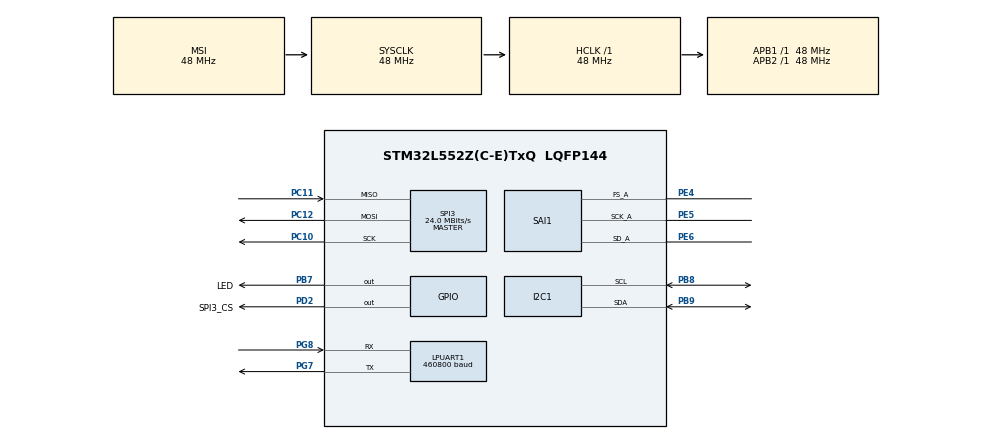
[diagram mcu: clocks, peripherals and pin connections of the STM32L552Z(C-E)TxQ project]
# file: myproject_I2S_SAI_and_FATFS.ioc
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Dma.Request0=SAI1_A
Dma.Request1=SPI3_TX
Dma.SAI1_A.0.Channel_PRIV_NPRIV=DMA_CHANNEL_NPRIV_DISABLE
Dma.SAI1_A.0.Direction=DMA_PERIPH_TO_MEMORY
Dma.SAI1_A.0.EventEnable=DISABLE
Dma.SAI1_A.0.Instance=DMA1_Channel1
Dma.SAI1_A.0.MemDataAlignment=DMA_MDATAALIGN_WORD
Dma.SAI1_A.0.MemInc=DMA_MINC_ENABLE
Dma.SAI1_A.0.Mode=DMA_CIRCULAR
Dma.SAI1_A.0.PeriphDataAlignment=DMA_PDATAALIGN_WORD
Dma.SAI1_A.0.PeriphInc=DMA_PINC_DISABLE
Dma.SAI1_A.0.Polarity=HAL_DMAMUX_REQ_GEN_RISING
Dma.SAI1_A.0.Priority=DMA_PRIORITY_HIGH
Dma.SAI1_A.0.RequestNumber=1
Dma.SAI1_A.0.SignalID=NONE
Dma.SAI1_A.0.SyncEnable=DISABLE
Dma.SAI1_A.0.SyncPolarity=HAL_DMAMUX_SYNC_NO_EVENT
Dma.SAI1_A.0.SyncRequestNumber=1
Dma.SAI1_A.0.SyncSignalID=NONE
Dma.SPI3_TX.1.Channel_PRIV_NPRIV=DMA_CHANNEL_NPRIV_DISABLE
Dma.SPI3_TX.1.Direction=DMA_MEMORY_TO_PERIPH
Dma.SPI3_TX.1.EventEnable=DISABLE
Dma.SPI3_TX.1.Instance=DMA1_Channel2
Dma.SPI3_TX.1.MemDataAlignment=DMA_MDATAALIGN_BYTE
Dma.SPI3_TX.1.MemInc=DMA_MINC_ENABLE
Dma.SPI3_TX.1.Mode=DMA_NORMAL
Dma.SPI3_TX.1.PeriphDataAlignment=DMA_PDATAALIGN_BYTE
Dma.SPI3_TX.1.PeriphInc=DMA_PINC_DISABLE
Dma.SPI3_TX.1.Polarity=HAL_DMAMUX_REQ_GEN_RISING
Dma.SPI3_TX.1.Priority=DMA_PRIORITY_LOW
Dma.SPI3_TX.1.RequestNumber=1
Dma.SPI3_TX.1.SignalID=NONE
Dma.SPI3_TX.1.SyncEnable=DISABLE
Dma.SPI3_TX.1.SyncPolarity=HAL_DMAMUX_SYNC_NO_EVENT
Dma.SPI3_TX.1.SyncRequestNumber=1
Dma.SPI3_TX.1.SyncSignalID=NONE
I2C1.Timing=0x20303E5D
LPUART1.BaudRate=460800
Mcu.Family=STM32L5
Mcu.Name=STM32L552Z(C-E)TxQ
Mcu.Package=LQFP144
NVIC.DMA1_Channel1_IRQn=true\:0\:0\:false\:false\:true\:false\:true\:true
NVIC.DMA1_Channel2_IRQn=true\:0\:0\:false\:false\:true\:false\:true\:true
NVIC.PriorityGroup=NVIC_PRIORITYGROUP_3
NVIC.SAI1_IRQn=true\:0\:0\:false\:false\:true\:true\:true\:true
PB7.GPIO_Label=LED
PB7.Signal=GPIO_Output
PB8.GPIO_Pu=GPIO_PULLUP
PB8.Mode=I2C
PB8.Signal=I2C1_SCL
PB9.GPIO_Pu=GPIO_PULLUP
PB9.Mode=I2C
PB9.Signal=I2C1_SDA
PC10.Mode=Full_Duplex_Master
PC10.Signal=SPI3_SCK
PC11.Mode=Full_Duplex_Master
PC11.Signal=SPI3_MISO
PC12.Mode=Full_Duplex_Master
PC12.Signal=SPI3_MOSI
PD2.GPIO_Label=SPI3_CS
PD2.Signal=GPIO_Output
PE4.Mode=SAI_A_Master
PE4.Signal=SAI1_FS_A
PE5.Mode=SAI_A_Master
PE5.Signal=SAI1_SCK_A
PE6.Mode=SAI_A_Master
PE6.Signal=SAI1_SD_A
PG7.Mode=Asynchronous
PG7.Signal=LPUART1_TX
PG8.Mode=Asynchronous
PG8.Signal=LPUART1_RX
ProjectManager.HeapSize=0x200
ProjectManager.StackSize=0x400
ProjectManager.TargetToolchain=STM32CubeIDE
RCC.ADCFreq_Value=96000000
RCC.AHBFreq_Value=48000000
RCC.APB1Freq_Value=48000000
RCC.APB1TimFreq_Value=48000000
RCC.APB2Freq_Value=48000000
RCC.APB2TimFreq_Value=48000000
RCC.CortexFreq_Value=48000000
RCC.HCLKFreq_Value=48000000
RCC.HSE_VALUE=16000000
RCC.HSI48_VALUE=48000000
RCC.HSI_VALUE=16000000
RCC.LSE_VALUE=32768
RCC.MSIClockRange=RCC_MSIRANGE_11
RCC.MSI_VALUE=48000000
RCC.PLLM=2
RCC.PLLSAI1M=7
RCC.PLLSAI1N=28
RCC.PLLSAI1P=RCC_PLLP_DIV17
RCC.SYSCLKFreq_VALUE=48000000
RCC.USBFreq_Value=96000000
RCC.VCOOutputFreq_Value=192000000
SAI1.AudioFrequency-SAI_A_Master=SAI_AUDIO_FREQUENCY_44K
SAI1.AudioMode-SAI_A_Master=SAI_MODEMASTER_RX
SAI1.BasicDataSize-SAI_A_Master=SAI_PROTOCOL_DATASIZE_32BIT
SAI1.BasicSlotNumber-SAI_A_Master=8
SAI1.ErrorAudioFreq-SAI_A_Master=0.03 %
SAI1.FIFOThreshold-SAI_A_Master=SAI_FIFOTHRESHOLD_FULL
SAI1.InitProtocol-SAI_A_Master=Enable
SAI1.Instance-SAI_A_Master=SAI$Index_Block_A
SAI1.MckOutput-SAI_A_Master=SAI_MCK_OUTPUT_DISABLE
SAI1.OutputDrive-SAI_A_Master=SAI_OUTPUTDRIVE_ENABLE
SAI1.RealAudioFreq-SAI_A_Master=44.117 KHz
SAI1.VirtualMode-SAI_A_Master=VM_MASTER
SAI1.VirtualProtocol-SAI_A_BASIC=VM_BASIC_PROTOCOL
SPI3.CalculateBaudRate=24.0 MBits/s
SPI3.DataSize=SPI_DATASIZE_8BIT
SPI3.Direction=SPI_DIRECTION_2LINES
SPI3.Mode=SPI_MODE_MASTER
SPI3.VirtualType=VM_MASTER
VP_FATFS_VS_Generic.Mode=User_defined
VP_ICACHE_VS_ICACHE.Mode=DirectMappedCache
VP_PWR_VS_DBSignals.Mode=DisableDeadBatterySignals
VP_PWR_VS_SECSignals.Mode=Security/Privilege
VP_SAI1_VP_$IpInstance_SAIA_SAI_BASIC.Mode=SAI_A_BASIC
board=custom

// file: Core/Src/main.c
/* USER CODE BEGIN Header */
/**
  ******************************************************************************
  * @file           : main.c
  * @brief          : Main program body
  ******************************************************************************
  * @attention
  *
  * Copyright (c) 2025 STMicroelectronics.
  * All rights reserved.
  *
  * This software is licensed under terms that can be found in the LICENSE file
  * in the root directory of this software component.
  * If no LICENSE file comes with this software, it is provided AS-IS.
  *
  ******************************************************************************
  */
/* USER CODE END Header */
#include "main.h"
#include "app_fatfs.h"

/* USER CODE BEGIN Includes */
#include <stdio.h>
#include <math.h>

/* USER CODE END Includes */

/* USER CODE BEGIN PD */
#define BUFFER_SIZE 9800
#define BIT_DEPTH 32

/* USER CODE END PD */

I2C_HandleTypeDef hi2c1;

UART_HandleTypeDef hlpuart1;

SAI_HandleTypeDef hsai_BlockA1;
DMA_HandleTypeDef hdma_sai1_a;

SPI_HandleTypeDef hspi3;
DMA_HandleTypeDef hdma_spi3_tx;

/* USER CODE BEGIN PV */

// Flags de mission
int8_t startRecordingAudioFlag = 0;
int8_t wifiTransfertFlag = 0;

// Variables liées au transfert de données en I2S
int32_t adcData[BUFFER_SIZE];
static volatile int32_t *inBufPtr;
int8_t dataReadyFlag = 0;
int32_t sortedData[BUFFER_SIZE/2];

// Variables liées au stockage des données sur la carte SD
int fileOpenFlag = 0;
           // int nbr of half buffer
uint8_t NumberOfFiles = 1;			    // int
char fileName[16] = "record" ;
BYTE writeBuf[30];

// FatFs variables
FATFS FatFs; 	// Fatfs handle
FIL fil; 		// File handle
FRESULT fres;   // Result after operations

/* USER CODE END PV */

void SystemClock_Config(void);
static void MX_GPIO_Init(void);
static void MX_DMA_Init(void);
static void MX_I2C1_Init(void);
static void MX_LPUART1_UART_Init(void);
static void MX_ICACHE_Init(void);
static void MX_SAI1_Init(void);
static void MX_SPI3_Init(void);

/* USER CODE BEGIN 0 */
void HAL_SAI_RxHalfCpltCallback(SAI_HandleTypeDef *hi2s)
{
	inBufPtr = &adcData[0];
	HAL_UART_Transmit(&hlpuart1, (uint8_t *)"Interrupt 1/2\r\n", strlen("Interrupt 1/2\r\n"), HAL_MAX_DELAY);

	dataReadyFlag = 1;
}

void HAL_SAI_RxCpltCallback(SAI_HandleTypeDef *hi2s)
{
	inBufPtr = &adcData[BUFFER_SIZE/2];
	HAL_UART_Transmit(&hlpuart1, (uint8_t *)"Interrupt 2/2\r\n", strlen("Interrupt 2/2\r\n"), HAL_MAX_DELAY);

	dataReadyFlag = 1;
}

void myprint(const char *fmt, ...) {
  static char buffer[256];
  va_list args;
  va_start(args, fmt);
  vsnprintf(buffer, sizeof(buffer), fmt, args);
  va_end(args);
  int len = strlen(buffer);
  HAL_UART_Transmit(&hlpuart1, (uint8_t*)buffer, len, -1);
}

/* USER CODE END 0 */

int main(void)
{

  /* MCU Configuration--------------------------------------------------------*/

  /* Reset of all peripherals, Initializes the Flash interface and the Systick. */
  HAL_Init();

  /* Configure the system clock */
  SystemClock_Config();

  /* Initialize all configured peripherals */
  MX_GPIO_Init();
  MX_DMA_Init();
  MX_I2C1_Init();
  MX_LPUART1_UART_Init();
  MX_ICACHE_Init();
  MX_SAI1_Init();
  if (MX_FATFS_Init() != APP_OK) {
    Error_Handler();
  }
  MX_SPI3_Init();
  /* USER CODE BEGIN 2 */

	HAL_GPIO_WritePin(GPIOB, GPIO_PIN_7, GPIO_PIN_SET);

	myprint("\r\nSTM32L552 is connected \r\n");
	HAL_Delay(200);

  // ---------------------------------------------------------------------------------------------- //
  // ------------------------------  Configure ADC settings with I2C ------------------------------ //
  // ---------------------------------------------------------------------------------------------- //
	// Test I2C com
	uint16_t i2c_dev_addr = 0x4e<<1;			// device address left-shifted
	uint16_t registerAdressSize = 1;			// size
	uint32_t timeout = 50;					// timeout
	uint16_t Size = 1;						// size
	uint8_t readData;							// variable init
	char hexStr[7];

	HAL_I2C_Mem_Read(hi2c, i2c_dev_addr | 0x01 , 0x14, registerAdressSize, &readData, Size, timeout);
	if (readData==0x48){HAL_UART_Transmit(huart, (uint8_t *)"Com I2C ok\r\n", strlen("Com I2C ok\r\n"), HAL_MAX_DELAY);}
	else {HAL_UART_Transmit(huart, (uint8_t *)"Com I2C nok\r\n", strlen("Com I2C nok\r\n"), HAL_MAX_DELAY);}

	HAL_Delay(500);

  // ---------------------------------------------------------------------------------------------- //
  // -----------------------------------  Initialize SD card  ------------------------------------- //
  // ---------------------------------------------------------------------------------------------- //
	myprint("SD card demo \r\n");

	// Open the file system - mount the drive
	fres = f_mount(&FatFs, "", 1); // 1 = mount now
	if (fres != FR_OK) {
	myprint("f_mount error (%i)\r\n", fres);
	while(1);
	}

	// Statistics from the SD card
	DWORD free_clusters, free_sectors, total_sectors;
	FATFS* getFreeFs;
	fres = f_getfree("", &free_clusters, &getFreeFs);
	if (fres != FR_OK) {
	myprint("f_getfree error (%i)\r\n", fres);
	while(1);
	}
	//Formula comes from ChaN's documentation
	total_sectors = (getFreeFs->n_fatent - 2) * getFreeFs->csize;
	free_sectors = free_clusters * getFreeFs->csize;
	myprint("SD card stats:\r\n%10lu KiB total drive space.\r\n%10lu KiB available.\r\n", total_sectors / 2, free_sectors / 2);

	// Open file
	fres = f_open(&fil, "record.bin", FA_WRITE | FA_CREATE_ALWAYS);
	if(fres == FR_OK)
	{
		myprint("I was able to open 'record.bin' for writing\r\n");
	}
	else
	{
		myprint("f_open error (%i)\r\n", fres);
	}
	fileOpenFlag = 1;

	// Writing timing test
	float data[4096] = {1.2, 1.6, -0.5, 3.2};
	UINT bytesWrote;
	uint32_t t0 = HAL_GetTick();    // ms
	fres = f_write(&fil, data, sizeof(data), &bytesWrote);
	f_sync(&fil);
	uint32_t t = HAL_GetTick();
	if(fres == FR_OK)
	{
		myprint("Wrote %i bytes to 'record.bin'!\r\n", bytesWrote);
	}
	else
	{
		myprint("f_write error (%i)\r\n", fres);
	}

	uint32_t delta = t-t0; 				//ms
	char myStr[20];
	sprintf(myStr, "%lu ms to save data\r\n", delta);

	myprint(myStr);

	HAL_Delay(50);

	// ---------------------------------------------------------------------------------------------- //
	// -------------------------------  Initialize I2S data transfer -------------------------------- //
	// ---------------------------------------------------------------------------------------------- //

	/* IF THE SECTION BELOW IS COMMENTED, THE WRITING ON SD CARD WORKS WELL (but uncomment the line 283) */
	HAL_StatusTypeDef status = HAL_SAI_Receive_DMA(&hsai_BlockA1, (uint8_t *)adcData, BUFFER_SIZE*4);
	if (status != HAL_OK) {HAL_UART_Transmit(&hlpuart1, (uint8_t *)"I2S DMA Start Failed!\r\n", 23, HAL_MAX_DELAY);}
	if (hsai_BlockA1.hdmarx->State != HAL_DMA_STATE_BUSY) {HAL_UART_Transmit(&hlpuart1, (uint8_t *)"DMA not running!\r\n", 18, HAL_MAX_DELAY);}
	if (hsai_BlockA1.hdmarx == NULL) {HAL_UART_Transmit(&hlpuart1, (uint8_t *)"Erreur DMA non associé!\r\n", 25, HAL_MAX_DELAY);}
	HAL_UART_Transmit(&hlpuart1, (uint8_t *)"Tests\r\n", 7, HAL_MAX_DELAY);
	/* *******************************************************************   */

  /* USER CODE END 2 */

  /* Infinite loop */
  /* USER CODE BEGIN WHILE */
  uint32_t currentFileSize = 0;
  while (1)
  {
	// dataReadyFlag = 1;
	// ----------------------------------------------------------------------------------- //
	// --------------------------- Maximal size is reached ------------------------------- //
	// ----------------------------------------------------------------------------------- //
	if ( currentFileSize > 14)
	{
	// Stop I2S
	HAL_SAI_DMAStop(&hsai_BlockA1);

	// Ferme le fichier
	f_close(&fil);

	// De-mount the drive
	f_mount(NULL, "", 0);

	while (1);
	}

	if (dataReadyFlag)     // & (currentFileSize<10000)
		 {
			myprint("ok\r\n");

			dataReadyFlag = 0;
			currentFileSize++;

			float data[BUFFER_SIZE/2] = {1.2, 1.6, -0.5, 3.2};
			inBufPtr = (int32_t *) &data[0];
			UINT bytesWrote;
			fres = f_write(&fil, (const int32_t *)inBufPtr, BUFFER_SIZE/2, &bytesWrote);
			if(fres == FR_OK)
			{
				myprint("Wrote %i bytes to 'record.bin'!\r\n", bytesWrote);
			}
			else
			{
				myprint("f_write error (%i)\r\n", fres);
			}

			myprint("ok2\r\n");

		 }

    /* USER CODE END WHILE */

  }
}

void SystemClock_Config(void)
{
  RCC_OscInitTypeDef RCC_OscInitStruct = {0};
  RCC_ClkInitTypeDef RCC_ClkInitStruct = {0};

  /** Configure the main internal regulator output voltage
  */
  if (HAL_PWREx_ControlVoltageScaling(PWR_REGULATOR_VOLTAGE_SCALE1) != HAL_OK)
  {
    Error_Handler();
  }

  /** Initializes the RCC Oscillators according to the specified parameters
  * in the RCC_OscInitTypeDef structure.
  */
  RCC_OscInitStruct.OscillatorType = RCC_OSCILLATORTYPE_MSI;
  RCC_OscInitStruct.MSIState = RCC_MSI_ON;
  RCC_OscInitStruct.MSICalibrationValue = RCC_MSICALIBRATION_DEFAULT;
  RCC_OscInitStruct.MSIClockRange = RCC_MSIRANGE_11;
  RCC_OscInitStruct.PLL.PLLState = RCC_PLL_NONE;
  if (HAL_RCC_OscConfig(&RCC_OscInitStruct) != HAL_OK)
  {
    Error_Handler();
  }

  /** Initializes the CPU, AHB and APB buses clocks
  */
  RCC_ClkInitStruct.ClockType = RCC_CLOCKTYPE_HCLK|RCC_CLOCKTYPE_SYSCLK
                              |RCC_CLOCKTYPE_PCLK1|RCC_CLOCKTYPE_PCLK2;
  RCC_ClkInitStruct.SYSCLKSource = RCC_SYSCLKSOURCE_MSI;
  RCC_ClkInitStruct.AHBCLKDivider = RCC_SYSCLK_DIV1;
  RCC_ClkInitStruct.APB1CLKDivider = RCC_HCLK_DIV1;
  RCC_ClkInitStruct.APB2CLKDivider = RCC_HCLK_DIV1;

  if (HAL_RCC_ClockConfig(&RCC_ClkInitStruct, FLASH_LATENCY_2) != HAL_OK)
  {
    Error_Handler();
  }
}

static void MX_I2C1_Init(void)
{

  hi2c1.Instance = I2C1;
  hi2c1.Init.Timing = 0x20303E5D;
  hi2c1.Init.OwnAddress1 = 0;
  hi2c1.Init.AddressingMode = I2C_ADDRESSINGMODE_7BIT;
  hi2c1.Init.DualAddressMode = I2C_DUALADDRESS_DISABLE;
  hi2c1.Init.OwnAddress2 = 0;
  hi2c1.Init.OwnAddress2Masks = I2C_OA2_NOMASK;
  hi2c1.Init.GeneralCallMode = I2C_GENERALCALL_DISABLE;
  hi2c1.Init.NoStretchMode = I2C_NOSTRETCH_DISABLE;
  if (HAL_I2C_Init(&hi2c1) != HAL_OK)
  {
    Error_Handler();
  }

  /** Configure Analogue filter
  */
  if (HAL_I2CEx_ConfigAnalogFilter(&hi2c1, I2C_ANALOGFILTER_ENABLE) != HAL_OK)
  {
    Error_Handler();
  }

  /** Configure Digital filter
  */
  if (HAL_I2CEx_ConfigDigitalFilter(&hi2c1, 0) != HAL_OK)
  {
    Error_Handler();
  }

}

static void MX_ICACHE_Init(void)
{

  /** Enable instruction cache in 1-way (direct mapped cache)
  */
  if (HAL_ICACHE_ConfigAssociativityMode(ICACHE_1WAY) != HAL_OK)
  {
    Error_Handler();
  }
  if (HAL_ICACHE_Enable() != HAL_OK)
  {
    Error_Handler();
  }

}

static void MX_LPUART1_UART_Init(void)
{

  hlpuart1.Instance = LPUART1;
  hlpuart1.Init.BaudRate = 460800;
  hlpuart1.Init.WordLength = UART_WORDLENGTH_8B;
  hlpuart1.Init.StopBits = UART_STOPBITS_1;
  hlpuart1.Init.Parity = UART_PARITY_NONE;
  hlpuart1.Init.Mode = UART_MODE_TX_RX;
  hlpuart1.Init.HwFlowCtl = UART_HWCONTROL_NONE;
  hlpuart1.Init.OneBitSampling = UART_ONE_BIT_SAMPLE_DISABLE;
  hlpuart1.Init.ClockPrescaler = UART_PRESCALER_DIV1;
  hlpuart1.AdvancedInit.AdvFeatureInit = UART_ADVFEATURE_NO_INIT;
  hlpuart1.FifoMode = UART_FIFOMODE_DISABLE;
  if (HAL_UART_Init(&hlpuart1) != HAL_OK)
  {
    Error_Handler();
  }
  if (HAL_UARTEx_SetTxFifoThreshold(&hlpuart1, UART_TXFIFO_THRESHOLD_1_8) != HAL_OK)
  {
    Error_Handler();
  }
  if (HAL_UARTEx_SetRxFifoThreshold(&hlpuart1, UART_RXFIFO_THRESHOLD_1_8) != HAL_OK)
  {
    Error_Handler();
  }
  if (HAL_UARTEx_DisableFifoMode(&hlpuart1) != HAL_OK)
  {
    Error_Handler();
  }

}

static void MX_SAI1_Init(void)
{

  hsai_BlockA1.Instance = SAI1_Block_A;
  hsai_BlockA1.Init.AudioMode = SAI_MODEMASTER_RX;
  hsai_BlockA1.Init.Synchro = SAI_ASYNCHRONOUS;
  hsai_BlockA1.Init.OutputDrive = SAI_OUTPUTDRIVE_ENABLE;
  hsai_BlockA1.Init.NoDivider = SAI_MASTERDIVIDER_ENABLE;
  hsai_BlockA1.Init.FIFOThreshold = SAI_FIFOTHRESHOLD_FULL;
  hsai_BlockA1.Init.AudioFrequency = SAI_AUDIO_FREQUENCY_44K;
  hsai_BlockA1.Init.SynchroExt = SAI_SYNCEXT_DISABLE;
  hsai_BlockA1.Init.MonoStereoMode = SAI_STEREOMODE;
  hsai_BlockA1.Init.CompandingMode = SAI_NOCOMPANDING;
  if (HAL_SAI_InitProtocol(&hsai_BlockA1, SAI_I2S_STANDARD, SAI_PROTOCOL_DATASIZE_32BIT, 8) != HAL_OK)
  {
    Error_Handler();
  }

}

static void MX_SPI3_Init(void)
{

  /* SPI3 parameter configuration*/
  hspi3.Instance = SPI3;
  hspi3.Init.Mode = SPI_MODE_MASTER;
  hspi3.Init.Direction = SPI_DIRECTION_2LINES;
  hspi3.Init.DataSize = SPI_DATASIZE_8BIT;
  hspi3.Init.CLKPolarity = SPI_POLARITY_LOW;
  hspi3.Init.CLKPhase = SPI_PHASE_1EDGE;
  hspi3.Init.NSS = SPI_NSS_SOFT;
  hspi3.Init.BaudRatePrescaler = SPI_BAUDRATEPRESCALER_2;
  hspi3.Init.FirstBit = SPI_FIRSTBIT_MSB;
  hspi3.Init.TIMode = SPI_TIMODE_DISABLE;
  hspi3.Init.CRCCalculation = SPI_CRCCALCULATION_DISABLE;
  hspi3.Init.CRCPolynomial = 7;
  hspi3.Init.CRCLength = SPI_CRC_LENGTH_DATASIZE;
  hspi3.Init.NSSPMode = SPI_NSS_PULSE_ENABLE;
  if (HAL_SPI_Init(&hspi3) != HAL_OK)
  {
    Error_Handler();
  }

}

static void MX_DMA_Init(void)
{

  /* DMA controller clock enable */
  __HAL_RCC_DMAMUX1_CLK_ENABLE();
  __HAL_RCC_DMA1_CLK_ENABLE();

  /* DMA interrupt init */
  /* DMA1_Channel1_IRQn interrupt configuration */
  HAL_NVIC_SetPriority(DMA1_Channel1_IRQn, 0, 0);
  HAL_NVIC_EnableIRQ(DMA1_Channel1_IRQn);
  /* DMA1_Channel2_IRQn interrupt configuration */
  HAL_NVIC_SetPriority(DMA1_Channel2_IRQn, 0, 0);
  HAL_NVIC_EnableIRQ(DMA1_Channel2_IRQn);

}

static void MX_GPIO_Init(void)
{
  GPIO_InitTypeDef GPIO_InitStruct = {0};

  /* GPIO Ports Clock Enable */
  __HAL_RCC_GPIOE_CLK_ENABLE();
  __HAL_RCC_GPIOG_CLK_ENABLE();
  HAL_PWREx_EnableVddIO2();
  __HAL_RCC_GPIOC_CLK_ENABLE();
  __HAL_RCC_GPIOD_CLK_ENABLE();
  __HAL_RCC_GPIOB_CLK_ENABLE();

  /*Configure GPIO pin Output Level */
  HAL_GPIO_WritePin(SPI3_CS_GPIO_Port, SPI3_CS_Pin, GPIO_PIN_RESET);

  /*Configure GPIO pin Output Level */
  HAL_GPIO_WritePin(LED_GPIO_Port, LED_Pin, GPIO_PIN_RESET);

  /*Configure GPIO pin : SPI3_CS_Pin */
  GPIO_InitStruct.Pin = SPI3_CS_Pin;
  GPIO_InitStruct.Mode = GPIO_MODE_OUTPUT_PP;
  GPIO_InitStruct.Pull = GPIO_NOPULL;
  GPIO_InitStruct.Speed = GPIO_SPEED_FREQ_LOW;
  HAL_GPIO_Init(SPI3_CS_GPIO_Port, &GPIO_InitStruct);

  /*Configure GPIO pin : LED_Pin */
  GPIO_InitStruct.Pin = LED_Pin;
  GPIO_InitStruct.Mode = GPIO_MODE_OUTPUT_PP;
  GPIO_InitStruct.Pull = GPIO_NOPULL;
  GPIO_InitStruct.Speed = GPIO_SPEED_FREQ_LOW;
  HAL_GPIO_Init(LED_GPIO_Port, &GPIO_InitStruct);

}

void Error_Handler(void)
{
  __disable_irq();
  while (1)
  {
  }
}
